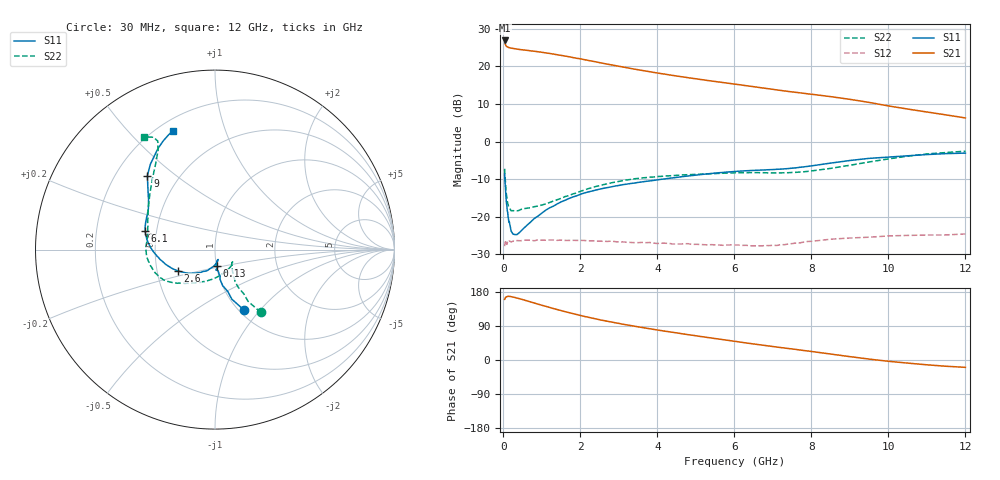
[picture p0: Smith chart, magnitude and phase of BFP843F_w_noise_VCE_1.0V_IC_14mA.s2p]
! Infineon Technologies  Discrete & RF Semiconductors
! BFP843F
! VCE =  1.0 V,  IC =  14 mA
! Common Emitter S-Parameters:  Aug 2013
# GHz  S  MA  R  50
!  f  S11  S21  S12  S22
! GHz  MAG  ANG  MAG  ANG  MAG  ANG  MAG  ANG
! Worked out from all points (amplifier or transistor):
!   103 points, 30 MHz to 12 GHz, reference 50 ohm
!   highest |S21| = 26.9 dB at 30 MHz (marker M1)
!   |S21| within 3 dB of that: start of sweep to 890.7 MHz
!   unconditionally stable (mu >= 1): 171.8 MHz to end of sweep
!   at 400 MHz: K = 1.01, MAG = 24.8 dB, |S12| = -26.4 dB
!   at 3.7 GHz: K = 1.16, MAG = 20.4 dB, |S12| = -26.9 dB
!   at 12 GHz: K = 1.30, MAG = 12.1 dB, |S12| = -24.6 dB
!   lowest NFmin = 0.84 dB at 450 MHz
!   S11 on the Smith chart (normalised r, x): 30 MHz: 1.05, -0.83; 130 MHz: 1.01, -0.19; 2.6 GHz: 0.64, -0.16; 6.1 GHz: 0.43, +0.11; 9 GHz: 0.33, +0.40; 12 GHz: 0.26, +0.68
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0.03  0.374 -64.3  22.18 160.1  0.0404 29.1  0.4335 -53.9
0.04  0.2926 -71.2  20.6 161.5  0.0433 21.0  0.342 -57.4
0.05  0.2444 -73.0  19.6 164.4  0.0462 26.4  0.2945 -56.9
0.06  0.2048 -78.0  19.15 165.6  0.0449 21.5  0.247 -58.4
0.08  0.1494 -78.9  18.52 167.0  0.0441 13.2  0.1934 -56.1
0.13  0.0935 -82.7  17.93 168.1  0.047 11.0  0.1376 -46.8
0.2  0.0641 -80.8  17.52 167.2  0.046 6.6  0.1194 -38.6
0.3  0.0577 -72.8  17.21 164.9  0.0466 3.4  0.1192 -34.8
0.9  0.1018 -100.4  15.68 147.3  0.049 0.9  0.1383 -67.3
1.2  0.1311 -113.5  14.89 138.7  0.0489 0.5  0.1543 -86.4
1.6  0.1651 -128.1  13.76 127.6  0.0482 -0.8  0.1849 -105.9
2.1  0.2062 -140.9  12.31 115.1  0.0481 -2.3  0.2257 -124.3
2.6  0.2381 -150.1  10.98 104.2  0.0469 -2.3  0.2671 -135.3
3.2  0.2705 -159.2  9.621 92.7  0.0455 -2.1  0.3075 -144.0
4.1  0.3141 -170.8  8.027 77.6  0.0443 -1.4  0.3435 -153.7
5.1  0.3618 177.2  6.731 62.4  0.0426 1.1  0.3669 -164.6
6.1  0.4023 165.3  5.737 48.0  0.0418 5.4  0.3833 -176.3
7  0.4232 153.3  4.952 35.5  0.0415 11.3  0.3817 172.5
8.5  0.5161 136.5  3.961 15.7  0.05 16.9  0.4389 147.9
9  0.5588 132.4  3.646 8.9  0.0519 15.8  0.483 138.5
10.5  0.6455 119.6  2.708 -8.2  0.0562 15.0  0.638 119.8
12  0.7014 109.4  2.061 -19.4  0.0587 17.0  0.7439 122.3
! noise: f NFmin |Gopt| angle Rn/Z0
0.45  0.84  0.01  87  0.03
0.9  0.84  0.02  98  0.04
1.5  0.87  0.03  107  0.05
1.9  0.92  0.04  119  0.05
2.4  0.96  0.05  136  0.07
3.5  1.01  0.08  154  0.12
5.5  1.11  0.17  -161  0.2
10  1.66  0.36  -110  0.3
